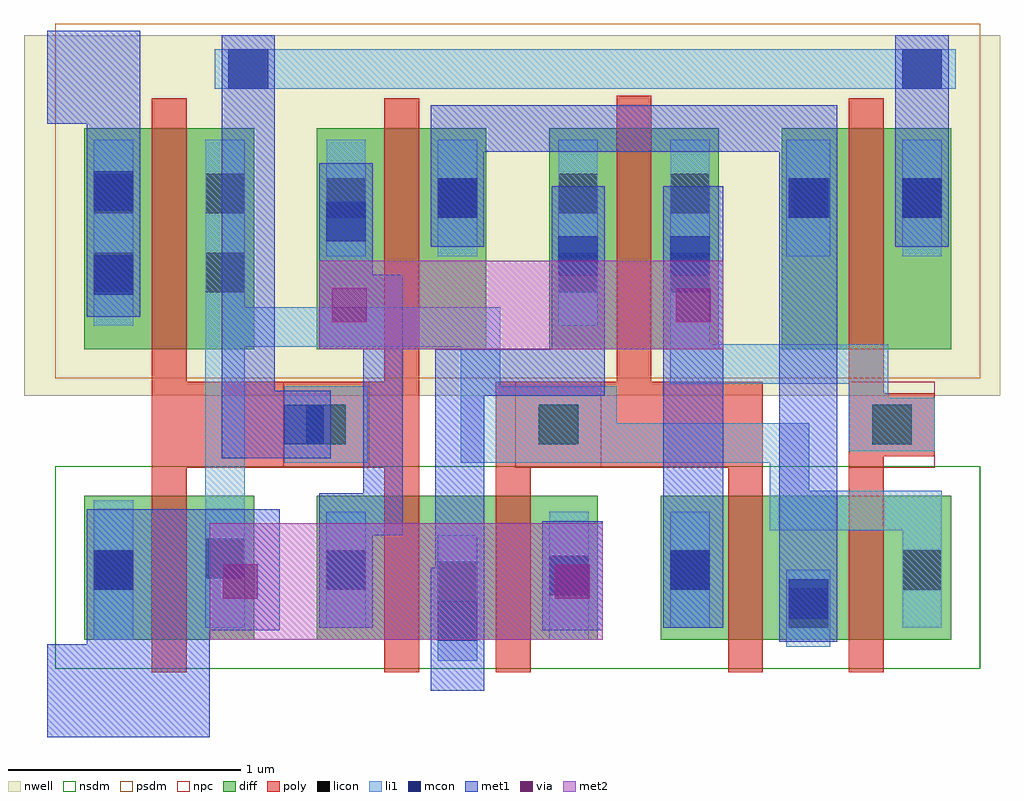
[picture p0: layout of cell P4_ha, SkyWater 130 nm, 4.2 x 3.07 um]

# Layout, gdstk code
import gdstk
lib = gdstk.Library(unit=1e-6, precision=1e-09)
def R(c, l, rs):  # rectangles x0, y0, x1, y1
    for r in rs: c.add(gdstk.rectangle(r[:2], r[2:], *l))
def A(c, l, x, y, w, h, nx, ny, dx, dy):  # array of equal rectangles
    R(c, l, [(x+i*dx, y+j*dy, x+i*dx+w, y+j*dy+h) for i in range(nx) for j in range(ny)])
nwell = (64, 20)
diff = (65, 20)
poly = (66, 20)
licon = (66, 44)
li1 = (67, 20)
mcon = (67, 44)
met1 = (68, 20)
via = (68, 44)
met2 = (69, 20)
nsdm = (93, 44)
psdm = (94, 20)
npc = (95, 20)

p4_ha = lib.new_cell('P4_ha')
R(p4_ha, nwell, [(-0.3,-0.2,3.9,1.35)])
A(p4_ha, diff, -0.04, 0, 0.73, 0.95, 4, 1, 1, 0)
R(p4_ha, diff, [(-0.04,-1.25,0.69,-0.63), (0.96,-1.25,2.17,-0.63), (2.44,-1.25,3.69,-0.63)])
R(p4_ha, poly, [(0.25,-1.39,0.4,-0.51), (1.25,-1.39,1.4,-0.51), (1.73,-1.39,1.88,-0.51), (2.73,-1.39,2.88,-0.51), (3.25,-1.39,3.4,-0.46), (0.25,-0.51,1.4,-0.14), (1.73,-0.51,2.88,-0.14), (3.25,-0.46,3.62,-0.19), (3.25,-0.19,3.4,1.08), (0.25,-0.14,0.4,1.08), (1.25,-0.14,1.4,1.08), (2.25,-0.14,2.4,1.09)])
R(p4_ha, licon, [(2.99,-1.2,3.16,-1.03), (1.48,-1.085,1.65,-0.915), (1.96,-1.06,2.13,-0.89), (0,-1.035,0.17,-0.865), (1,-1.035,1.17,-0.865), (2.48,-1.035,2.65,-0.865), (3.48,-1.035,3.65,-0.865), (0.48,-0.985,0.65,-0.815), (0.915,-0.41,1.085,-0.24), (1.915,-0.41,2.085,-0.24), (3.35,-0.41,3.52,-0.24), (0,0.245,0.17,0.415), (0.48,0.245,0.65,0.415), (2,0.245,2.17,0.415), (2.48,0.245,2.65,0.415), (1,0.565,1.17,0.735), (1.48,0.565,1.65,0.735), (3,0.565,3.17,0.735), (3.48,0.565,3.65,0.735), (0,0.585,0.17,0.755), (0.48,0.585,0.65,0.755), (2,0.585,2.17,0.755), (2.48,0.585,2.65,0.755)])
R(p4_ha, li1, [(1.48,-1.34,1.65,-0.8), (2.98,-1.28,3.17,-0.95), (0,-1.25,0.17,-0.65), (1.96,-1.25,2.13,-0.7), (0.48,-1.2,0.65,0.01), (1,-1.2,1.17,-0.7), (2.48,-1.2,2.65,-0.7), (3.48,-1.2,3.65,-0.78), (2.91,-0.78,3.65,-0.61), (2.91,-0.61,3.08,-0.49), (0.82,-0.49,1.18,-0.16), (1.58,-0.49,3.08,-0.32), (3.25,-0.44,3.62,-0.21), (1.58,-0.32,2.25,-0.16), (3.25,-0.21,3.42,-0.15), (1.58,-0.16,1.75,0.01), (2.48,-0.15,3.42,0.02), (0.48,0.01,1.75,0.18), (2.48,0.02,2.65,0.9), (0,0.1,0.17,0.9), (2,0.1,2.17,0.9), (0.48,0.18,0.65,0.9), (1,0.4,1.17,0.9), (1.48,0.4,1.65,0.9), (2.98,0.4,3.17,0.9), (3.48,0.4,3.65,0.9), (0.52,1.12,3.71,1.29)])
R(p4_ha, mcon, [(1.48,-1.255,1.65,-1.085), (2.99,-1.16,3.16,-0.99), (1.96,-1.06,2.13,-0.89), (0,-1.035,0.17,-0.865), (1,-1.035,1.17,-0.865), (2.48,-1.035,2.65,-0.865), (0.82,-0.41,0.99,-0.24), (0,0.235,0.17,0.405), (2,0.315,2.17,0.485), (2.48,0.315,2.65,0.485), (1,0.465,1.17,0.635), (1.48,0.565,1.65,0.735), (2.99,0.565,3.16,0.735), (3.48,0.565,3.65,0.735), (0,0.595,0.17,0.765), (0.58,1.12,0.75,1.29), (3.48,1.12,3.65,1.29)])
R(p4_ha, met1, [(-0.2,-1.67,0.5,-1.27), (1.45,-1.47,1.68,-0.94), (-0.03,-1.27,0.5,-1.21), (2.95,-1.26,3.2,0.85), (-0.03,-1.21,0.8,-0.69), (1.93,-1.21,2.19,-0.74), (0.97,-1.2,1.2,-0.8), (2.45,-1.2,2.71,0.7), (1.47,-0.94,1.68,-0.2), (0.97,-0.8,1.33,-0.62), (1.16,-0.62,1.33,0), (0.55,-0.47,1.02,-0.18), (1.47,-0.2,2.2,0), (0.55,-0.18,0.78,1.35), (0.97,0,1.33,0.32), (1.97,0,2.2,0.7), (-0.03,0.14,0.2,0.97), (0.97,0.32,1.2,0.8), (1.45,0.44,1.68,0.85), (3.45,0.44,3.68,1.35), (1.45,0.85,3.2,1.05), (-0.2,0.97,0.2,1.37)])
R(p4_ha, via, [(0.555,-1.075,0.705,-0.925), (1.985,-1.075,2.135,-0.925), (1.025,0.115,1.175,0.265), (2.505,0.115,2.655,0.265)])
R(p4_ha, met2, [(0.5,-1.25,2.19,-0.75), (0.97,0,2.71,0.38)])
R(p4_ha, nsdm, [(-0.165,-1.375,3.815,-0.505)])
R(p4_ha, psdm, [(-0.165,-0.125,3.815,1.4)])
R(p4_ha, npc, [(0.815,-0.51,1.185,-0.14), (1.815,-0.51,2.185,-0.14), (3.25,-0.51,3.62,-0.14)])

lib.write_gds('P4_ha.gds')
